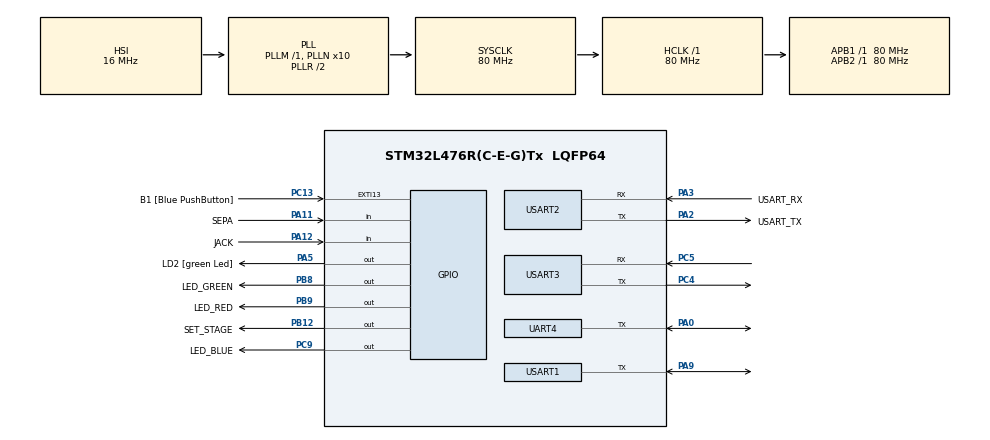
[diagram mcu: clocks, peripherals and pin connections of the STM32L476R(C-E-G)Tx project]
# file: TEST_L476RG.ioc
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Mcu.Family=STM32L4
Mcu.Name=STM32L476R(C-E-G)Tx
Mcu.Package=LQFP64
NVIC.PriorityGroup=NVIC_PRIORITYGROUP_4
NVIC.UART4_IRQn=true\:0\:0\:false\:false\:true\:true\:true\:true
NVIC.USART1_IRQn=true\:0\:0\:false\:false\:true\:true\:true\:true
NVIC.USART2_IRQn=true\:0\:0\:false\:false\:true\:true\:true\:true
NVIC.USART3_IRQn=true\:0\:0\:false\:false\:true\:true\:true\:true
PA0.Mode=Half_duplex(single_wire_mode)
PA0.Signal=UART4_TX
PA11.GPIO_Label=SEPA
PA11.Signal=GPIO_Input
PA12.GPIO_Label=JACK
PA12.Signal=GPIO_Input
PA13\ (JTMS-SWDIO).GPIO_Label=TMS
PA13\ (JTMS-SWDIO).Mode=Serial_Wire
PA13\ (JTMS-SWDIO).Signal=SYS_JTMS-SWDIO
PA14\ (JTCK-SWCLK).GPIO_Label=TCK
PA14\ (JTCK-SWCLK).Mode=Serial_Wire
PA14\ (JTCK-SWCLK).Signal=SYS_JTCK-SWCLK
PA2.GPIO_Label=USART_TX
PA2.GPIO_Mode=GPIO_MODE_AF_PP
PA2.GPIO_PuPd=GPIO_NOPULL
PA2.GPIO_Speed=GPIO_SPEED_FREQ_VERY_HIGH
PA2.Mode=Asynchronous
PA2.Signal=USART2_TX
PA3.GPIO_Label=USART_RX
PA3.GPIO_Mode=GPIO_MODE_AF_PP
PA3.GPIO_PuPd=GPIO_NOPULL
PA3.GPIO_Speed=GPIO_SPEED_FREQ_VERY_HIGH
PA3.Mode=Asynchronous
PA3.Signal=USART2_RX
PA5.GPIO_Label=LD2 [green Led]
PA5.GPIO_ModeDefaultOutputPP=GPIO_MODE_OUTPUT_PP
PA5.GPIO_PuPd=GPIO_NOPULL
PA5.GPIO_Speed=GPIO_SPEED_FREQ_LOW
PA5.Signal=GPIO_Output
PA9.Mode=Half_duplex(single_wire_mode)
PA9.Signal=USART1_TX
PB12.GPIO_Label=SET_STAGE
PB12.Signal=GPIO_Output
PB3\ (JTDO-TRACESWO).GPIO_Label=SWO
PB3\ (JTDO-TRACESWO).Signal=SYS_JTDO-SWO
PB8.GPIO_Label=LED_GREEN
PB8.Signal=GPIO_Output
PB9.GPIO_Label=LED_RED
PB9.Signal=GPIO_Output
PC13.GPIO_Label=B1 [Blue PushButton]
PC13.GPIO_ModeDefaultEXTI=GPIO_MODE_IT_FALLING
PC13.GPIO_PuPd=GPIO_NOPULL
PC13.Signal=GPXTI13
PC14-OSC32_IN\ (PC14).Mode=LSE-External-Oscillator
PC14-OSC32_IN\ (PC14).Signal=RCC_OSC32_IN
PC15-OSC32_OUT\ (PC15).Mode=LSE-External-Oscillator
PC15-OSC32_OUT\ (PC15).Signal=RCC_OSC32_OUT
PC4.Mode=Asynchronous
PC4.Signal=USART3_TX
PC5.Mode=Asynchronous
PC5.Signal=USART3_RX
PC9.GPIO_Label=LED_BLUE
PC9.Signal=GPIO_Output
PH0-OSC_IN\ (PH0).Signal=RCC_OSC_IN
PH1-OSC_OUT\ (PH1).Signal=RCC_OSC_OUT
ProjectManager.HeapSize=0x200
ProjectManager.StackSize=0x400
ProjectManager.TargetToolchain=CMake
RCC.ADCFreq_Value=64000000
RCC.AHBFreq_Value=80000000
RCC.APB1Freq_Value=80000000
RCC.APB1TimFreq_Value=80000000
RCC.APB2Freq_Value=80000000
RCC.APB2TimFreq_Value=80000000
RCC.CortexFreq_Value=80000000
RCC.HCLKFreq_Value=80000000
RCC.HSE_VALUE=8000000
RCC.HSI_VALUE=16000000
RCC.MSI_VALUE=4000000
RCC.PLLN=10
RCC.PLLSourceVirtual=RCC_PLLSOURCE_HSI
RCC.PREFETCH_ENABLE=1
RCC.SYSCLKFreq_VALUE=80000000
RCC.SYSCLKSource=RCC_SYSCLKSOURCE_PLLCLK
RCC.USBFreq_Value=64000000
RCC.VCOOutputFreq_Value=160000000
USART1.VirtualMode-Half_duplex(single_wire_mode)=VM_ASYNC
USART2.VirtualMode-Asynchronous=VM_ASYNC
USART3.Parity=PARITY_NONE
USART3.SwapParam=ADVFEATURE_SWAP_DISABLE
USART3.VirtualMode-Asynchronous=VM_ASYNC
board=NUCLEO-L476RG

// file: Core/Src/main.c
/* USER CODE BEGIN Header */
/**
 ******************************************************************************
 * @file           : main.c
 * @brief          : Main program body
 ******************************************************************************
 * @attention
 *
 * Copyright (c) 2026 STMicroelectronics.
 * All rights reserved.
 *
 * This software is licensed under terms that can be found in the LICENSE file
 * in the root directory of this software component.
 * If no LICENSE file comes with this software, it is provided AS-IS.
 *
 ******************************************************************************
 */
/* USER CODE END Header */
#include "main.h"

/* USER CODE BEGIN Includes */

#include "drivers/STS.h"
#include "drivers/WT901B.h"

#include "peripherals/gpio.h"
#include "peripherals/usart.h"

#include "stm32l4xx_hal.h"
#include "stm32l4xx_hal_gpio.h"
#include "utils/data_topic.h"
#include "utils/float3.h"
#include "utils/quaternion.h"
#include "utils/quaternion_dynamics.h"

#include <stdint.h>
#include <stdio.h>
#include <string.h>
#include <math.h>
#include <sys/types.h>

/* USER CODE END Includes */

/* USER CODE BEGIN PTD */

#define PI (3.14159265f)
#define DEG_TO_RAD (PI / 180.0f)
#define RAD_TO_DEG (180.0f / PI)

#define WT901B_FREQUENCY_HZ 100 /* Fréquence de lecture des données du WT901B, à ajuster selon la configuration du capteur */
#define WT901B_PERIOD_S (1.0f / WT901B_FREQUENCY_HZ)

#define ATTITUDE_ELEVATION_GOAL_DEG 72 /* Objectif d'angle d'élévation pour le second étage, à ajuster selon la trajectoire souhaitée */
#define ATTITUDE_AZIMUTH_GOAL_DEG 0 /* Objectif d'angle d'azimut pour le second étage, à ajuster selon la trajectoire souhaitée */

typedef struct rocket_attitude_dynamics_t {
	float3_t v_up_body; /* direction of the rocket’s “up” axis in body frame */
	float initial_elevation_deg; /* initial elevation angle in degrees (0 = horizontal, 90 = vertical) */

	quatf_t q; /* attitude quaternion (Body -> Earth) */
	float elevation_deg; /* elevation angle in degrees (0 = horizontal, 90 = vertical) */
	float azimuth_deg; /* azimuth angle in degrees (0 = forward, 90 = right) */
} rocket_attitude_dynamics_t;

typedef enum rocket_stage_t {
	ROCKET_FIRST_STAGE,
	ROCKET_SECOND_STAGE,
} rocket_stage_t;

typedef enum first_stage_initialisation_phase_t {
	FIRST_STAGE_AF_ZERO,
	FIRST_STAGE_WAIT_AF_ZERO,
	FIRST_STAGE_SEPA_ZERO,
	FIRST_STAGE_WAIT_SEPA_ZERO,
	FIRST_STAGE_WAIT_STAGE_ASSEMBLY_CONFIRMATION,
} first_stage_initialisation_phase_t;

typedef enum flight_phase_first_stage_t {
	FIRST_STAGE_INITIALISATION,
	FIRST_STAGE_WAIT_LAUNCH_CONFIRMATION,
	FIRST_STAGE_WAIT_BURN_END,
	FIRST_STAGE_SEPARATION,
	FIRST_STAGE_WAIT_SEPARATION_CONFIRMATION,
	FIRST_STAGE_WAIT_APOGEE_CONFIRMATION,
} flight_phase_first_stage_t;

typedef enum flight_phase_second_stage_t {
	SECOND_STAGE_WAIT_STAGE_ASSEMBLY_CONFIRMATION,
	SECOND_STAGE_WAIT_LAUNCH_CONFIRMATION,
	SECOND_STAGE_WAIT_SEPARATION_CONFIRMATION,
	SECOND_STAGE_WAIT_ATTITUDE_CONFIRMATION,
	SECOND_STAGE_BURN_SECOND_BURN_COMMAND,
	SECOND_STAGE_WAIT_SECOND_BURN_CONFIRMATION,
	SECOND_STAGE_WAIT_APOGEE_CONFIRMATION,
} flight_phase_second_stage_t;

rocket_stage_t current_stage;
first_stage_initialisation_phase_t first_stage_init_phase;
flight_phase_first_stage_t first_stage_flight_phase;
flight_phase_second_stage_t second_stage_flight_phase;

bool is_launch_confirmed;
bool is_separation_confirmed;
bool is_second_burn_confirmed;

uint32_t t0;

uint32_t t_launch; // Time refered to the launch, in seconds since boot

float current_accel_g; // Latest acceleration norm in g, used for state machine decisions
float current_pressure_variation_pa_s; // Latest pressure variation in Pa/s, used for state machine decisions

// Les temps sont en millisecondes par rapport au T0 (lancement)

#define T_ALPHA_BETA_0 5000 /* Fin de propulsion du premier étage */
#define T_ALPHA_BETA_1 5300 /* Séparation du premier étage */
#define T_ALPHA_BETA_2 0 /* Apogée de l'ensemble de la fusée (1er et 2e étage sans séparation) */
#define T_ALPHA_BETA_3 0 /* Atterrisage de l'ensemble de la fusée (1er et 2e étage sans séparation) */

#define T_ALPHA_0 0 /* Apogée du premier étage */
#define T_ALPHA_1 0 /* Atterrissage du premier étage */

#define T_BETA_0 0 /* Allumage du second étage */
#define T_BETA_1 0 /* Confirmation de l'allumage du second étage */
#define T_BETA_2 0 /* Apogée du second étage si séparation et actif */
#define T_BETA_3 0 /* Atterrissage du second étage si séparation et actif */
#define T_BETA_4 0 /* Apogée du second étage si séparation mais passif */
#define T_BETA_5 0 /* Atterrissage du second étage si séparation mais passif */

/* USER CODE END PTD */

/* USER CODE BEGIN PV */

STS_Servo_t servo1, servo2, servo3, servo4;

rocket_attitude_dynamics_t attitude;
bool is_init;

/* USER CODE END PV */

void SystemClock_Config(void);
/* USER CODE BEGIN PFP */
void on_new_accel_frame(data_sub_t *sub);
void on_new_gyro_frame(data_sub_t *sub);
void on_new_pressure_frame(data_sub_t *sub);

void first_stage_state_machine(void);
void first_stage_initialisation(void);
void second_stage_state_machine(void);
/* USER CODE END PFP */

int main(void)
{

  /* MCU Configuration--------------------------------------------------------*/

  /* Reset of all peripherals, Initializes the Flash interface and the Systick. */
  HAL_Init();

  /* Configure the system clock */
  SystemClock_Config();

  /* Initialize all configured peripherals */
  MX_GPIO_Init();
  MX_USART1_UART_Init();
  MX_USART2_UART_Init();
  MX_USART3_UART_Init();
  MX_UART4_Init();
  /* USER CODE BEGIN 2 */
	HAL_StatusTypeDef res;

	res = STS_UART_Port_Init(&huart_sts_port1, &huart1);
	if (res != HAL_OK) { Error_Handler(); }
	res = STS_UART_Port_Init(&huart_sts_port2, &huart4);
	if (res != HAL_OK) { Error_Handler(); }

	// res = STS_Servo_Init(&servo1, &huart_sts_port1, 1);
	// // if (res != HAL_OK) { Error_Handler(); }
	// HAL_Delay(1);
	// res = STS_Servo_Init(&servo2, &huart_sts_port1, 2);
	// if (res != HAL_OK) { Error_Handler(); }
	// HAL_Delay(1);
	// res = STS_Servo_Init(&servo3, &huart_sts_port2, 3);
	// if (res != HAL_OK) { Error_Handler(); }
	// HAL_Delay(1);
	// res = STS_Servo_Init(&servo4, &huart_sts_port2, 4);
	// if (res != HAL_OK) { Error_Handler(); }
	// HAL_Delay(1);

	WT901B_status_t wt_res = WT901B_Init(&wt901b, &huart3);
	if (wt_res != WT901B_OK) { Error_Handler(); }

	data_sub_t accel_sub = { 0 };
	data_sub_attach(&accel_sub, &wt901b.data_topic, DATA_ATTACH_FROM_OLDEST);

	data_sub_t gyro_sub = { 0 };
	data_sub_attach(&gyro_sub, &wt901b.data_topic, DATA_ATTACH_FROM_OLDEST);

	data_sub_t pressure_sub = { 0 };
	data_sub_attach(&pressure_sub, &wt901b.data_topic, DATA_ATTACH_FROM_OLDEST);

	// Set up initial attitude surveyor state
	attitude.v_up_body = FLOAT3_UNIT_Y; /* axe “up” de la fusée aligné avec l’axe Y du body */
	attitude.initial_elevation_deg = 0.0f * DEG_TO_RAD; /* fusée initialement à 80° */
	attitude.q = quatf_from_axis_angle(FLOAT3_UNIT_Z, - PI / 2); // rotation initiale pour aligner l’axe forward du repère Terre avec l’axe Y du body
	attitude.q = quatf_mul(attitude.q, quatf_from_axis_angle(FLOAT3_UNIT_X, attitude.initial_elevation_deg)); // rotation initiale d’élévation
	attitude.elevation_deg = 0.0f;
	attitude.azimuth_deg = 0.0f;

	// Set up initial state machine state
	// first_stage_init_phase = FIRST_STAGE_AF_ZERO;
	first_stage_init_phase = FIRST_STAGE_WAIT_SEPA_ZERO;
	first_stage_flight_phase = FIRST_STAGE_INITIALISATION;
	second_stage_flight_phase = SECOND_STAGE_WAIT_STAGE_ASSEMBLY_CONFIRMATION;

	// Set up initial confirmations
	is_launch_confirmed = true;
	// is_launch_confirmed = false;
	is_separation_confirmed = false;
	is_second_burn_confirmed = false;

	// Looking for which stage we are
	if (HAL_GPIO_ReadPin(SET_STAGE_GPIO_Port, SET_STAGE_Pin) == GPIO_PIN_RESET) {
		current_stage = ROCKET_SECOND_STAGE;
		for (size_t i = 0; i < 10; i++) {
			HAL_GPIO_TogglePin(LED_BLUE_GPIO_Port, LED_BLUE_Pin);
			HAL_Delay(500);
		}
	} else {
		current_stage = ROCKET_FIRST_STAGE;
		for (size_t i = 0; i < 10; i++) {
			HAL_GPIO_TogglePin(LED_GREEN_GPIO_Port, LED_GREEN_Pin);
			HAL_Delay(500);
		}
	}

	uint8_t rx_buffer[256] = { 0 };
	t0 = HAL_GetTick();

  /* USER CODE END 2 */

  /* Infinite loop */
	while (1) {

    /* USER CODE BEGIN 3 */

		WT901B_Parse_Frames(&wt901b);
		on_new_accel_frame(&accel_sub);
		on_new_pressure_frame(&pressure_sub);
		on_new_gyro_frame(&gyro_sub);

		// switch (current_stage) {
		// 	case ROCKET_FIRST_STAGE: {
		// 		first_stage_state_machine();
		// 		break;
		// 	}
		// 	case ROCKET_SECOND_STAGE: {
		// 		on_new_gyro_frame(&gyro_sub);
		// 		second_stage_state_machine();
		// 		break;
		// 	}
		// }
		// NEED TO CHANGE THIS TO PRINT ALL USEFULL DATA
		if (HAL_GetTick() - t0 > 10) {
			t0 = HAL_GetTick();
			sprintf((char*)rx_buffer, "Elevation: %.2f deg, Azimuth: %.2f deg\r\n", attitude.elevation_deg, attitude.azimuth_deg);
			HAL_UART_Transmit(&huart2, (uint8_t*)rx_buffer, strlen((char*)rx_buffer), HAL_MAX_DELAY);
		}

	}

  /* USER CODE END 3 */
}

void SystemClock_Config(void)
{
  RCC_OscInitTypeDef RCC_OscInitStruct = {0};
  RCC_ClkInitTypeDef RCC_ClkInitStruct = {0};

  /** Configure the main internal regulator output voltage
  */
  if (HAL_PWREx_ControlVoltageScaling(PWR_REGULATOR_VOLTAGE_SCALE1) != HAL_OK)
  {
    Error_Handler();
  }

  /** Initializes the RCC Oscillators according to the specified parameters
  * in the RCC_OscInitTypeDef structure.
  */
  RCC_OscInitStruct.OscillatorType = RCC_OSCILLATORTYPE_HSI;
  RCC_OscInitStruct.HSIState = RCC_HSI_ON;
  RCC_OscInitStruct.HSICalibrationValue = RCC_HSICALIBRATION_DEFAULT;
  RCC_OscInitStruct.PLL.PLLState = RCC_PLL_ON;
  RCC_OscInitStruct.PLL.PLLSource = RCC_PLLSOURCE_HSI;
  RCC_OscInitStruct.PLL.PLLM = 1;
  RCC_OscInitStruct.PLL.PLLN = 10;
  RCC_OscInitStruct.PLL.PLLP = RCC_PLLP_DIV7;
  RCC_OscInitStruct.PLL.PLLQ = RCC_PLLQ_DIV2;
  RCC_OscInitStruct.PLL.PLLR = RCC_PLLR_DIV2;
  if (HAL_RCC_OscConfig(&RCC_OscInitStruct) != HAL_OK)
  {
    Error_Handler();
  }

  /** Initializes the CPU, AHB and APB buses clocks
  */
  RCC_ClkInitStruct.ClockType = RCC_CLOCKTYPE_HCLK|RCC_CLOCKTYPE_SYSCLK
                              |RCC_CLOCKTYPE_PCLK1|RCC_CLOCKTYPE_PCLK2;
  RCC_ClkInitStruct.SYSCLKSource = RCC_SYSCLKSOURCE_PLLCLK;
  RCC_ClkInitStruct.AHBCLKDivider = RCC_SYSCLK_DIV1;
  RCC_ClkInitStruct.APB1CLKDivider = RCC_HCLK_DIV1;
  RCC_ClkInitStruct.APB2CLKDivider = RCC_HCLK_DIV1;

  if (HAL_RCC_ClockConfig(&RCC_ClkInitStruct, FLASH_LATENCY_4) != HAL_OK)
  {
    Error_Handler();
  }
}

/* USER CODE BEGIN 4 */

void on_new_accel_frame(data_sub_t *sub) {
	if (data_sub_num_to_read(sub) > 0) {
		WT901B_Frame_t frame;
		data_sub_read(sub, &frame);
		if (frame.type == WT901B_FRAME_ACCEL) {
			current_accel_g = sqrtf(
				frame.data.accel.ax_g * frame.data.accel.ax_g +
				frame.data.accel.ay_g * frame.data.accel.ay_g +
				frame.data.accel.az_g * frame.data.accel.az_g
			);
		}
	}
}

void on_new_gyro_frame(data_sub_t *sub) {
	if (is_launch_confirmed && data_sub_num_to_read(sub) > 0) {
		WT901B_Frame_t frame;
		data_sub_read(sub, &frame);
		if (frame.type == WT901B_FRAME_GYRO) {
			quatdyn_propagate_ip(
				&attitude.q,
				(float3_t){
					.x = frame.data.gyro.gx_dps * DEG_TO_RAD, /* convert to radians/s */
					.y = frame.data.gyro.gy_dps * DEG_TO_RAD,
					.z = frame.data.gyro.gz_dps * DEG_TO_RAD
				},
				WT901B_PERIOD_S
			);
			float3_t v_body_earth = quatf_rotate_vector(attitude.q, attitude.v_up_body);
			attitude.elevation_deg = 90 - acosf(v_body_earth.z) * RAD_TO_DEG;
			float3_t v_body_earth_proj = float3_sub(v_body_earth, float3_scale(FLOAT3_UNIT_Z, v_body_earth.z));
			attitude.azimuth_deg = atan2f(v_body_earth_proj.y, v_body_earth_proj.x) * RAD_TO_DEG;
		}
	}
}

void on_new_pressure_frame(data_sub_t *sub) {
	if (is_launch_confirmed && data_sub_num_to_read(sub) > 0) {
		WT901B_Frame_t frame;
		data_sub_read(sub, &frame);
		if (frame.type == WT901B_FRAME_PRESSURE) {
			// Assuming we receive pressure in Pa, we can compute the variation if we store the previous pressure
			static float previous_pressure_pa = 0.0f;
			float current_pressure_pa = (float)frame.data.pressure.pressure_pa;
			if (previous_pressure_pa > 0.0f) {
				current_pressure_variation_pa_s = (current_pressure_pa - previous_pressure_pa) / WT901B_PERIOD_S; // variation en Pa/s
			}
			previous_pressure_pa = current_pressure_pa;
		}
	}
}

void first_stage_initialisation(void) {
	switch (first_stage_init_phase) {
		case FIRST_STAGE_AF_ZERO: {
			STS_Servo_SetOperatingMode(&servo1, STS_OP_MODE_SPEED_CONTROL);
			HAL_Delay(1);
			STS_Servo_SetGoalSpeed(&servo1, STS_Servo_GetSpeedInUnits(-200));
			HAL_Delay(1);
			first_stage_init_phase = FIRST_STAGE_WAIT_AF_ZERO;
			break;
		}
		case FIRST_STAGE_WAIT_AF_ZERO: {
			bool in_overload;
			HAL_Delay(1);
			STS_Servo_InOverload(&servo1, &in_overload);
			if (in_overload) {
				HAL_Delay(1);
				STS_Servo_SetGoalSpeed(&servo1, 0);
				HAL_Delay(1);
				STS_Servo_SetOperatingMode(&servo1, STS_OP_MODE_POSITION_CONTROL);
				HAL_Delay(1);
				STS_Servo_PositionCalibration(&servo1, 0);
				HAL_Delay(1);
				STS_Servo_SetGoalPosition(&servo1, STS_Servo_GetPositionInUnits(30));
				HAL_Delay(1);
				first_stage_init_phase = FIRST_STAGE_SEPA_ZERO;
			}
			break;
		}
		case FIRST_STAGE_SEPA_ZERO: {
			STS_Servo_SetOperatingMode(&servo3, STS_OP_MODE_SPEED_CONTROL);
			HAL_Delay(1);
			STS_Servo_SetGoalSpeed(&servo3, STS_Servo_GetSpeedInUnits(-200));
			HAL_Delay(1);
			first_stage_init_phase = FIRST_STAGE_WAIT_SEPA_ZERO;
			break;
		}
		case FIRST_STAGE_WAIT_SEPA_ZERO: {
			bool in_overload;
			HAL_Delay(1);
			STS_Servo_InOverload(&servo3, &in_overload);
			if (true) {
				HAL_Delay(1);
				STS_Servo_SetGoalSpeed(&servo3, 0);
				HAL_Delay(1);
				STS_Servo_SetOperatingMode(&servo3, STS_OP_MODE_POSITION_CONTROL);
				HAL_Delay(1);
				STS_Servo_PositionCalibration(&servo3, 0);
				HAL_Delay(1);
				STS_Servo_SetGoalPosition(&servo3, STS_Servo_GetPositionInUnits(120));
				HAL_Delay(1);
				first_stage_init_phase = FIRST_STAGE_WAIT_STAGE_ASSEMBLY_CONFIRMATION;
			}
			break;
		}
		case FIRST_STAGE_WAIT_STAGE_ASSEMBLY_CONFIRMATION: {
			if (HAL_GPIO_ReadPin(SEPA_GPIO_Port, SEPA_Pin) == GPIO_PIN_RESET) {
				HAL_GPIO_TogglePin(LED_RED_GPIO_Port, LED_RED_Pin);
				HAL_Delay(100);
				HAL_GPIO_TogglePin(LED_RED_GPIO_Port, LED_RED_Pin);
				first_stage_flight_phase = FIRST_STAGE_WAIT_LAUNCH_CONFIRMATION;
			}
			break;
		}
	}
}

void first_stage_state_machine(void) {
	// FIRST_STAGE_INITIALISATION,
	// FIRST_STAGE_WAIT_LAUNCH_CONFIRMATION,
	// FIRST_STAGE_WAIT_BURN_END,
	// FIRST_STAGE_SEPARATION,
	// FIRST_STAGE_WAIT_SEPARATION_CONFIRMATION,
	// FIRST_STAGE_WAIT_APOGEE_CONFIRMATION,

	switch (first_stage_flight_phase) {
		case FIRST_STAGE_INITIALISATION: {
			first_stage_initialisation();
			break;
		}
		case FIRST_STAGE_WAIT_LAUNCH_CONFIRMATION: {
			// Wait for launch confirmation
			if (HAL_GPIO_ReadPin(JACK_GPIO_Port, JACK_Pin) == GPIO_PIN_SET) {
				t_launch = HAL_GetTick();
				HAL_GPIO_TogglePin(LED_RED_GPIO_Port, LED_RED_Pin);
				HAL_Delay(100);
				HAL_GPIO_TogglePin(LED_RED_GPIO_Port, LED_RED_Pin);
				is_launch_confirmed = true;
				first_stage_flight_phase = FIRST_STAGE_WAIT_BURN_END;
			}
			break;
		}
		case FIRST_STAGE_WAIT_BURN_END: {
			if (HAL_GetTick() - t_launch > T_ALPHA_BETA_0) {
				HAL_GPIO_TogglePin(LED_RED_GPIO_Port, LED_RED_Pin);
				first_stage_flight_phase = FIRST_STAGE_SEPARATION;
			}
			break;
		}
		case FIRST_STAGE_SEPARATION: {
			if (HAL_GetTick() - t_launch > T_ALPHA_BETA_1) {
				HAL_GPIO_TogglePin(LED_RED_GPIO_Port, LED_RED_Pin);
				STS_Servo_SetGoalPosition(&servo1, STS_Servo_GetPositionInUnits(120));
				HAL_Delay(1);
				STS_Servo_SetGoalPosition(&servo3, STS_Servo_GetPositionInUnits(120));
				HAL_Delay(1);
				first_stage_flight_phase = FIRST_STAGE_WAIT_SEPARATION_CONFIRMATION;
			}
			break;
		}
		case FIRST_STAGE_WAIT_SEPARATION_CONFIRMATION: {
			if (HAL_GPIO_ReadPin(SEPA_GPIO_Port, SEPA_Pin) == GPIO_PIN_RESET) {
				is_separation_confirmed = true;
				first_stage_flight_phase = FIRST_STAGE_WAIT_APOGEE_CONFIRMATION;
			} else if (HAL_GetTick() - t_launch > T_ALPHA_BETA_1 + 5000) { // 5 seconds after expected separation time, if no confirmation received
				is_separation_confirmed = false;
				first_stage_flight_phase = FIRST_STAGE_WAIT_APOGEE_CONFIRMATION;
			}
			break;
		}
		case FIRST_STAGE_WAIT_APOGEE_CONFIRMATION: {
			uint32_t t_apogee_estimated = is_separation_confirmed ? T_ALPHA_0 : T_ALPHA_BETA_2;
			if (HAL_GetTick() - t_launch < t_apogee_estimated) {
				// Wait to reach estimated apogee time
			} else if (current_pressure_variation_pa_s < 5.0f) { // If we are near apogee (low pressure variation), confirm apogee
				// Apogee confirmed
				// ...
			} else if (HAL_GetTick() - t_launch > t_apogee_estimated + 3000) { // 3 seconds after estimated apogee time, if no confirmation received
				// Apogee not confirmed, but we can consider it passed
				// ...
			}
			break;
		}
	}
}

void second_stage_state_machine(void) {
	// SECOND_STAGE_WAIT_STAGE_ASSEMBLY_CONFIRMATION,
	// SECOND_STAGE_WAIT_LAUNCH_CONFIRMATION,
	// SECOND_STAGE_WAIT_SEPARATION_CONFIRMATION,
	// SECOND_STAGE_WAIT_ATTITUDE_CONFIRMATION,
	// SECOND_STAGE_BURN_SECOND_BURN_COMMAND,
	// SECOND_STAGE_WAIT_SECOND_BURN_CONFIRMATION,
	// SECOND_STAGE_WAIT_APOGEE_CONFIRMATION,

	switch (second_stage_flight_phase) {
		case SECOND_STAGE_WAIT_STAGE_ASSEMBLY_CONFIRMATION: {
			if (false) {
				second_stage_flight_phase = SECOND_STAGE_WAIT_LAUNCH_CONFIRMATION;
			}
			break;
		}
		case SECOND_STAGE_WAIT_LAUNCH_CONFIRMATION: {
			if (false) {
				is_launch_confirmed = true;
				second_stage_flight_phase = SECOND_STAGE_WAIT_SEPARATION_CONFIRMATION;
			}
			break;
		}
		case SECOND_STAGE_WAIT_SEPARATION_CONFIRMATION: {
			if (false) {
				is_separation_confirmed = true;
				second_stage_flight_phase = SECOND_STAGE_WAIT_ATTITUDE_CONFIRMATION;
			} else if (HAL_GetTick() - t_launch > T_BETA_0 + 5000) { // 5 seconds after expected separation time, if no confirmation received
				is_separation_confirmed = false;
				second_stage_flight_phase = SECOND_STAGE_WAIT_ATTITUDE_CONFIRMATION;
			}
			break;
		}
		case SECOND_STAGE_WAIT_ATTITUDE_CONFIRMATION: {
			if (fabsf(attitude.elevation_deg - ATTITUDE_ELEVATION_GOAL_DEG	) < 10.0f) {
				if (fabsf(attitude.azimuth_deg - ATTITUDE_AZIMUTH_GOAL_DEG) < 45.0f) {
					// Attitude confirmed
					second_stage_flight_phase = SECOND_STAGE_BURN_SECOND_BURN_COMMAND;
				}
			} else if (HAL_GetTick() - t_launch > T_BETA_1 + 3000) { // 3 seconds after expected attitude confirmation time, if no confirmation received
				// Attitude not confirmed, but we can still command the burn
				second_stage_flight_phase = SECOND_STAGE_WAIT_APOGEE_CONFIRMATION;
			}
			break;
		}
		case SECOND_STAGE_BURN_SECOND_BURN_COMMAND: {
			// Command second burn (e.g., by sending a signal to the engine)
			// ...
			second_stage_flight_phase = SECOND_STAGE_WAIT_SECOND_BURN_CONFIRMATION;
			break;
		}
		case SECOND_STAGE_WAIT_SECOND_BURN_CONFIRMATION: {
			if (HAL_GetTick() - t_launch < T_BETA_1) {
				// Wait to reach expected burn confirmation time
			} else if (current_accel_g	> 1.5f) { // If we detect a significant acceleration increase, confirm second burn
				is_second_burn_confirmed = true;
				second_stage_flight_phase = SECOND_STAGE_WAIT_APOGEE_CONFIRMATION;
			} else if (HAL_GetTick() - t_launch > T_BETA_1 + 100) { // 0.1 seconds after expected burn confirmation time, if no confirmation received
				is_second_burn_confirmed = false;
				second_stage_flight_phase = SECOND_STAGE_WAIT_APOGEE_CONFIRMATION;
			}
			break;
		}
		case SECOND_STAGE_WAIT_APOGEE_CONFIRMATION: {
			uint32_t t_apogee_estimated = is_second_burn_confirmed ? T_BETA_2 : T_BETA_4;
			if (HAL_GetTick() - t_launch < t_apogee_estimated) {
				// Wait to reach estimated apogee time
			} else if (current_pressure_variation_pa_s < 5.0f) { // If we are near apogee (low pressure variation), confirm apogee
				// Apogee confirmed
				// ...
			} else if (HAL_GetTick() - t_launch > t_apogee_estimated + 3000) { // 3 seconds after estimated apogee time, if no confirmation received
				// Apogee not confirmed, but we can consider it passed
				// ...
			}
			break;
		}
	}
}

/* USER CODE END 4 */

void Error_Handler(void)
{
	__disable_irq();
	while (1) {
	}
}
#ifdef USE_FULL_ASSERT
/**
  * @brief  Reports the name of the source file and the source line number
  *         where the assert_param error has occurred.
  * @param  file: pointer to the source file name
  * @param  line: assert_param error line source number
  * @retval None
  */
void assert_failed(uint8_t *file, uint32_t line)
{
  /* USER CODE BEGIN 6 */
  /* User can add his own implementation to report the file name and line
     number, ex: printf("Wrong parameters value: file %s on line %d\r\n", file,
     line) */
  /* USER CODE END 6 */
}
#endif /* USE_FULL_ASSERT */
